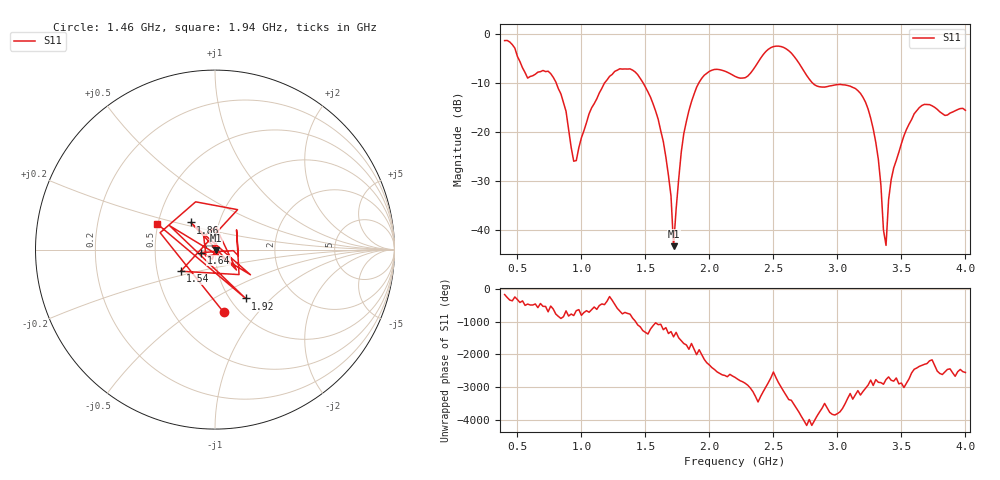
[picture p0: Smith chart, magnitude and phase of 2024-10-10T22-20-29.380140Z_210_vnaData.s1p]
! Created with skrf (http://scikit-rf.org).
# Hz S RI R 50.0
!freq ReS11 ImS11
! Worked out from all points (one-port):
!   181 points, 400 MHz to 4 GHz, reference 50 ohm
!   lowest |S11| = -43.3 dB at 1.72 GHz (marker M1), VSWR 1.01, Z = 50.6 - j0.295 ohm
!   |S11| at or under -10 dB: 802.9 MHz to 1.181 GHz (378 MHz wide, 38.1 % of centre); 1.482 GHz to 1.917 GHz (435.3 MHz wide, 25.6 % of centre); 2.805 GHz to end of sweep
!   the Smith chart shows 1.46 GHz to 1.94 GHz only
!   S11 on the Smith chart (normalised r, x): 1.46 GHz: 0.85, -0.68; 1.54 GHz: 0.66, -0.17; 1.64 GHz: 0.86, -0.03; 1.86 GHz: 0.73, +0.23; 1.92 GHz: 1.18, -0.71; 1.94 GHz: 0.50, +0.16
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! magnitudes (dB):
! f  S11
! 400 MHz  -1.4
! 580 MHz  -9.0
! 760 MHz  -8.1
! 860 MHz  -14.0
! 960 MHz  -25.9
! 1.08 GHz  -15.1
! 1.3 GHz  -7.1
! 1.46 GHz  -9.1
! 1.54 GHz  -12.9
! 1.64 GHz  -22.0
! 1.7 GHz  -33.1
! 1.72 GHz  -43.3
! 1.76 GHz  -29.7
! 1.86 GHz  -13.8
! 1.92 GHz  -9.9
! 1.94 GHz  -9.1
! 2.2 GHz  -8.7
! 2.5 GHz  -2.6
! 2.66 GHz  -4.5
! 2.84 GHz  -10.6
! 3.1 GHz  -10.7
! 3.28 GHz  -19.4
! 3.32 GHz  -25.6
! 3.38 GHz  -43.2
! 3.42 GHz  -29.8
! 3.56 GHz  -18.4
! 3.68 GHz  -14.4
! 4 GHz  -15.6
